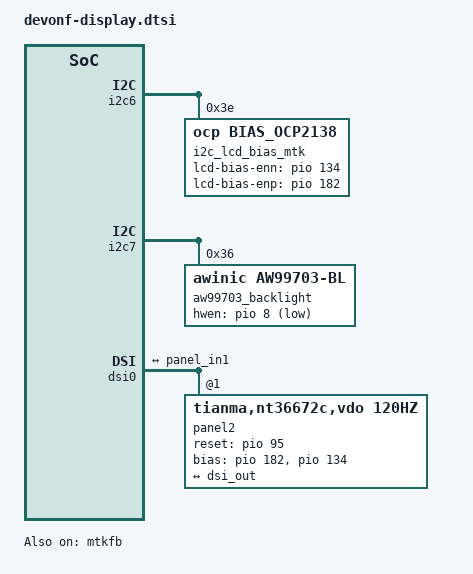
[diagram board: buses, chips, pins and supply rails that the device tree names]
/* Copyright (c) 2021, The Linux Foundation. All rights reserved.
 *
 * This program is free software; you can redistribute it and/or modify
 * it under the terms of the GNU General Public License version 2 and
 * only version 2 as published by the Free Software Foundation.
 *
 * This program is distributed in the hope that it will be useful,
 * but WITHOUT ANY WARRANTY; without even the implied warranty of
 * MERCHANTABILITY or FITNESS FOR A PARTICULAR PURPOSE.  See the
 * GNU General Public License for more details.
 */

&dispsys_config {
	force_dyn_mipi_change;
};

&i2c6 {
	id = <6>;

	i2c_lcd_bias_mtk:i2c_lcd_bias@3e {
		compatible = "ocp,bias_ocp2138";
		reg = <0x3e>;
		ocp,lcd-bias-enn-gpio = <&pio 134 0>;
		ocp,lcd-bias-enp-gpio = <&pio 182 0>;
		biasp_en_pin = <182>;
		biasn_en_pin = <134>;
		status = "okay";
	};
};

&i2c7 {
	id = <7>;

	aw99703_backlight: sprd_backlight@36{
		compatible = "awinic,aw99703-bl","ktd,ktd3136";
		reg = <0x36>;
		id = <7>;
		lk_hwen-gpio = <8>;
		status = "okay";

		aw99703,hwen-gpio = <&pio 8 1>;
		aw99703,bl-map = <3>; /* brightness map level 1:256,2:1024,3:2048 */
		aw99703,using-lsb;
		aw99703,ovp-level = <3>; /* 0:17.5V, 1:24V, 2:31V, 3:38V, 4:41.5V */
		aw99703,ocp-level = <2>; /* 0:0.9A, 1:1.8A, 2:2.7A, 3:3.4A */
		aw99703,switch-freq = <1>; /* 1000kHz(default) */
		aw99703,auto-freq-high = <0x10>;
		aw99703,auto-freq-low = <0x05>;
		aw99703,bl-fscal-led = <0x19>; /* 24.8mA */
		aw99703,bl-channel = <3>;
		aw99703,turn-on-ramp = <0x00>; /* 512us */
		aw99703,turn-off-ramp = <0x04>; /* 8ms */
		aw99703,pwm-trans-dim = <0>; /* 2ms */
		aw99703,i2c-trans-dim = <1>; /* 128ms */
		aw99703,skip-first-trans;
		aw99703,reset-trans-delay;
		aw99703,pwm-mode = <1>; /* 1 pwm enable,0 PWM disable */
		aw99703,map-type = <4>; /* 0 exponential, 4 linear */
		aw99703,work-mode = <1>; /* backlight */
		aw99703,default-brightness = <1024>;
		aw99703,init-seq-enable = <1>;
		aw99703,init-seq = <0x02 0x04>,
				<0x03 0xC7>,
				<0x04 0x29>,
				<0x09 0x00>,
				<0x05 0x10>,
				<0x67 0x1C>,
				<0x25 0x61>,
				<0x24 0x4C>,
				<0x23 0x61>,
				<0x02 0x05>;

                ktd,hwen-gpio = <&pio 8 1>;
                ktd,using-lsb;
                ktd,pwm-frequency = <1>; /* 1MHZ */
                ktd,bl-fscal-led = <0xC1>; /* 24.2mA */
                ktd,turn-on-ramp = <0x00>;
                ktd,turn-off-ramp = <0x04>;
                ktd,pwm-trans-dim = <0>;
                ktd,i2c-trans-dim = <128>;
                ktd,skip-first-trans;
                ktd,reset-trans-delay;
                ktd,bl-channel = <3>;
                ktd,ovp-level = <32>;  /*25.9v or 32v */
                ktd,ocp-level = <2600>;
                ktd,switching-frequency = <1>;
                ktd,inductor-current = <1>;
	};
};

&mtk_leds {

	compatible = "mediatek,i2c-leds";

	backlight {
		label = "lcd-backlight";
		led_mode = <6>;
		max-brightness = <2047>;
		max-hw-brightness = <2047>;
		default-brightness = <1024>;
	};
};

&pio {
	//bias-pos
		mtkfb_pins_lcm_bias_pos1_gpio: lcm_bias_pos1_gpio {
		pins_cmd_dat {
			pinmux = <PINMUX_GPIO182__FUNC_GPIO182>;
			slew-rate = <1>;
			output-high;
		};
	};

	mtkfb_pins_lcm_bias_pos0_gpio: lcm_bias_pos0_gpio {
		pins_cmd_dat {
			pinmux = <PINMUX_GPIO182__FUNC_GPIO182>;
			slew-rate = <1>;
			output-low;
		};
	};
	//bias_neg
	mtkfb_pins_lcm_bias_neg1_gpio: lcm_bias_eng1_gpio {
		pins_cmd_dat {
			pinmux = <PINMUX_GPIO134__FUNC_GPIO134>;
			slew-rate = <1>;
			output-high;
		};
	};

	mtkfb_pins_lcm_bias_neg0_gpio: lcm_bias_neg0_gpio {
		pins_cmd_dat {
			pinmux = <PINMUX_GPIO134__FUNC_GPIO134>;
			slew-rate = <1>;
			output-low;
		};
	};

	mtkfb_pins_lcm_rst_out1_gpio: lcm_rst_out1_gpio {
		pins_cmd_dat {
			pinmux = <PINMUX_GPIO95__FUNC_GPIO95>;
			slew-rate = <1>;
			output-high;
		};
	};

	mtkfb_pins_lcm_rst_out0_gpio: lcm_rst_out0_gpio {
		pins_cmd_dat {
			pinmux = <PINMUX_GPIO95__FUNC_GPIO95>;
			slew-rate = <1>;
			output-low;
		};
	};

	mtkfb_pins_lcm_dsi_te: lcm_dsi_te {
		pins_cmd_dat {
			pinmux = <PINMUX_GPIO94__FUNC_DSI_TE>;
		};
	};
};

&mtkfb {
	pinctrl-names =
		"lcm_rst_out1_gpio", "lcm_rst_out0_gpio",
		"mode_te_te",
		"lcm_bias_pos1_gpio", "lcm_bias_pos0_gpio",
		"lcm_bias_eng1_gpio", "lcm_bias_neg0_gpio";
	pinctrl-0 = <&mtkfb_pins_lcm_rst_out1_gpio>;
	pinctrl-1 = <&mtkfb_pins_lcm_rst_out0_gpio>;
	pinctrl-2 = <&mtkfb_pins_lcm_dsi_te>;
	pinctrl-3 = <&mtkfb_pins_lcm_bias_pos1_gpio>;
	pinctrl-4 = <&mtkfb_pins_lcm_bias_pos0_gpio>;
	pinctrl-5 = <&mtkfb_pins_lcm_bias_neg1_gpio>;
	pinctrl-6 = <&mtkfb_pins_lcm_bias_neg0_gpio>;
	status = "okay";
};

&dsi0 {
	status = "okay";
	//switch_fps = <120>; //60
	panel1@0 {
		compatible = "mot,dummy,vdo,60hz";
		reg = <0>;
		pinctrl-names = "default";
		port {
			panel_in1: endpoint {
				remote-endpoint = <&dsi_out>;
			};
		};

	};

	panel2@0 {
		compatible = "tianma,nt36672c,vdo,120hz";
		reg = <1>;
		reset-gpios = <&pio 95 0>;
		bias-gpios =<&pio 182 0>, //pos
					<&pio 134 0>;
		//gate-ic = <0>;
		rc-enable = <1>;
		pinctrl-names = "default";
		port {
			panel_in2: endpoint {
				remote-endpoint = <&dsi_out>;
			};
		};

	};

	ports {
		port {
			dsi_out: endpoint {
				remote-endpoint = <&panel_in1>;
			};
		};
	};
};
